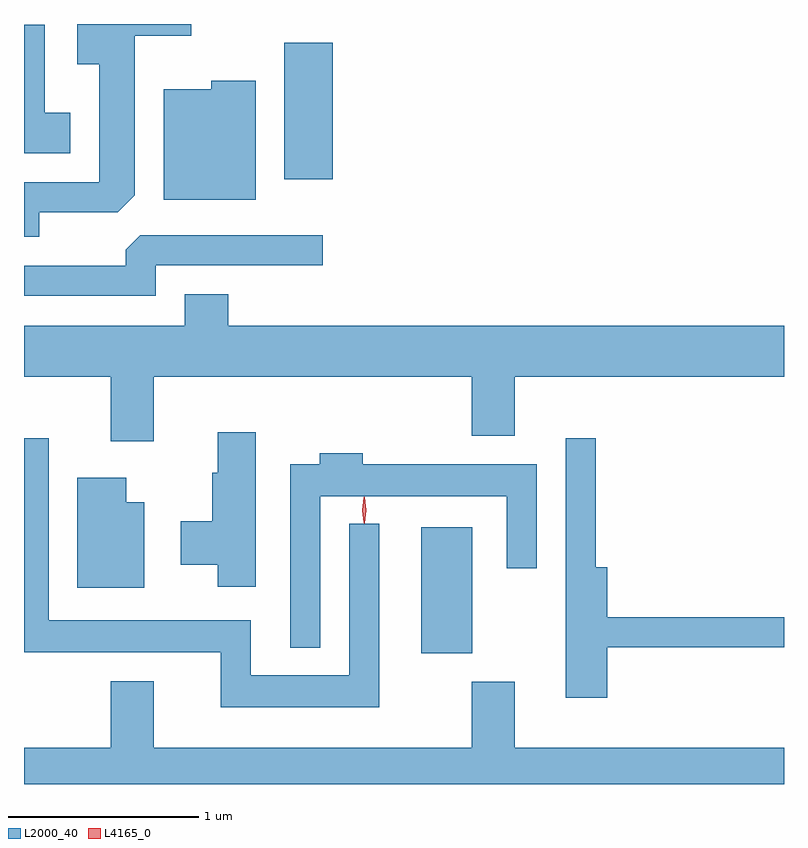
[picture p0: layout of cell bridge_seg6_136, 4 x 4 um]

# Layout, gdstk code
import gdstk
lib = gdstk.Library(unit=1e-6, precision=1e-09)
def R(c, l, rs):  # rectangles x0, y0, x1, y1
    for r in rs: c.add(gdstk.rectangle(r[:2], r[2:], *l))
def P(c, l, *ps):  # polygons
    for p in ps: c.add(gdstk.Polygon(p, *l))
L2000_40 = (2000, 40)
L4165_0 = (4165, 0)

bridge_seg6_136 = lib.new_cell('bridge_seg6_136')
R(bridge_seg6_136, L2000_40, [(1208.336,1617.401,1208.604,1618.064), (1207.616,1619.896,1207.869,1620.614)])
P(bridge_seg6_136, L2000_40, [(1206.324,1619.721),(1206.739,1619.721),(1206.829,1619.812),(1206.829,1620.651),(1207.124,1620.651),(1207.124,1620.712),(1206.526,1620.712),(1206.526,1620.501),(1206.641,1620.501),(1206.641,1619.879),(1206.245,1619.879),(1206.245,1619.591),(1206.324,1619.591)],
  [(1206.489,1620.244),(1206.354,1620.244),(1206.354,1620.709),(1206.245,1620.709),(1206.245,1620.031),(1206.489,1620.031)],
  [(1207.464,1620.414),(1207.231,1620.414),(1207.231,1620.369),(1206.981,1620.369),(1206.981,1619.786),(1207.464,1619.786)],
  [(1206.939,1619.441),(1207.818,1619.441),(1207.818,1619.599),(1206.857,1619.599),(1206.781,1619.524),(1206.781,1619.439),(1206.245,1619.439),(1206.245,1619.281),(1206.939,1619.281)],
  [(1206.929,1618.856),(1208.601,1618.856),(1208.601,1618.546),(1208.829,1618.546),(1208.829,1618.856),(1210.245,1618.856),(1210.245,1619.124),(1207.319,1619.124),(1207.319,1619.289),(1207.091,1619.289),(1207.091,1619.124),(1206.245,1619.124),(1206.245,1618.856),(1206.701,1618.856),(1206.701,1618.516),(1206.929,1618.516)],
  [(1207.464,1618.564),(1207.266,1618.564),(1207.266,1618.349),(1207.236,1618.349),(1207.236,1618.094),(1207.071,1618.094),(1207.071,1617.866),(1207.266,1617.866),(1207.266,1617.751),(1207.464,1617.751)],
  [(1208.114,1618.083),(1207.956,1618.083),(1207.956,1617.284),(1207.439,1617.284),(1207.439,1617.574),(1206.374,1617.574),(1206.374,1618.533),(1206.245,1618.533),(1206.245,1617.406),(1207.281,1617.406),(1207.281,1617.116),(1208.114,1617.116)],
  [(1209.314,1617.431),(1210.245,1617.431),(1210.245,1617.589),(1209.314,1617.589),(1209.314,1617.854),(1209.254,1617.854),(1209.254,1618.533),(1209.096,1618.533),(1209.096,1617.166),(1209.314,1617.166)],
  [(1207.804,1618.226),(1208.786,1618.226),(1208.786,1617.848),(1208.944,1617.848),(1208.944,1618.394),(1208.029,1618.394),(1208.029,1618.454),(1207.801,1618.454),(1207.801,1618.394),(1207.646,1618.394),(1207.646,1617.428),(1207.804,1617.428)],
  [(1206.879,1618.194),(1206.784,1618.194),(1206.784,1618.324),(1206.526,1618.324),(1206.526,1617.746),(1206.879,1617.746)],
  [(1210.245,1616.904),(1208.829,1616.904),(1208.829,1617.249),(1208.601,1617.249),(1208.601,1616.904),(1206.929,1616.904),(1206.929,1617.254),(1206.701,1617.254),(1206.701,1616.904),(1206.245,1616.904),(1206.245,1616.712),(1210.245,1616.712)])
P(bridge_seg6_136, L4165_0, [(1208.037,1618.083),(1208.037,1618.084),(1208.027,1618.153),(1208.037,1618.222),(1208.037,1618.223),(1208.038,1618.222),(1208.047,1618.153),(1208.038,1618.084)],
  [(1208.035,1618.087),(1208.034,1618.088),(1208.025,1618.154),(1208.034,1618.22),(1208.035,1618.221),(1208.035,1618.22),(1208.045,1618.154),(1208.035,1618.088)])

lib.write_gds('bridge_seg6_136.gds')
